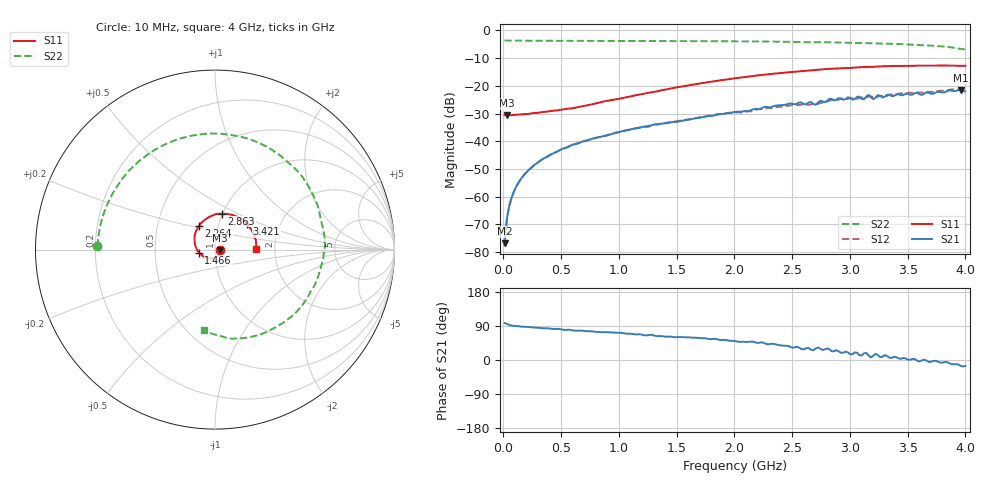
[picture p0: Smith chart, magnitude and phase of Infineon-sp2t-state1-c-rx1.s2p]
! 5/10/2016 1:42:42 PM
! C:\ANRITSUVNA\DATA\INFINEON-SP2T-STATE1-C-RX1.S2P
! CHANNEL.1
! TR.MEASUREMENT
! CORRECTED.DATA
# GHZ S RI R 50.0
! FREQ.GHZ  S11RE  S11IM  S21RE  S21IM  S12RE  S12IM  S22RE  S22IM
!; PortSelection: Port_12
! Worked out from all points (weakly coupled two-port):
!   201 points, 10 MHz to 4 GHz, reference 50 ohm
!   highest |S21| = -21.44 dB at 3.96 GHz (marker M1); lowest = -76.8 dB at 10 MHz (marker M2)
!   lowest |S11| = -30.6 dB at 29.95 MHz (marker M3), VSWR 1.06, Z = 53 - j0.261 ohm
!   |S11| at or under -10 dB: start of sweep to end of sweep
!   |S22| runs from -6.9 to -3.6 dB; largest |S21 - S12| = 0.009
!   S11 on the Smith chart (normalised r, x): 10 MHz: 1.06, -0.00; 1.466 GHz: 0.83, -0.03; 2.264 GHz: 0.81, +0.22; 2.863 GHz: 1.00, +0.42; 3.421 GHz: 1.36, +0.41; 4 GHz: 1.60, +0.01
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0.01  0.0296 -0.00189  -1.88e-05 0.000144  -1.27e-05 0.000128  -0.6587 0.0191
0.02995  0.0293 -0.00246  -3.87e-05 0.000406  -2.82e-05 0.000395  -0.6545 0.0247
0.0499  0.0293 -0.00369  -2.75e-05 0.000679  -2.04e-05 0.000673  -0.6532 0.0405
0.0898  0.0292 -0.00663  1.3e-06 0.00123  2.9e-06 0.00122  -0.6498 0.0717
0.2095  0.0272 -0.015  0.00014 0.00291  0.000146 0.0029  -0.6321 0.163
0.409  0.0209 -0.0283  0.000737 0.00575  0.00075 0.00568  -0.575 0.3039
0.6883  0.000492 -0.0431  0.00223 0.00973  0.00215 0.00962  -0.4491 0.4685
1.34665  -0.0757 -0.0294  0.00914 0.018  0.00928 0.0184  -0.0247 0.6467
1.46635  -0.0899 -0.0162  0.0109 0.0195  0.0111 0.0197  0.058 0.6429
2.005  -0.1129 0.0785  0.0218 0.0261  0.0224 0.0243  0.388 0.5027
2.26435  -0.0895 0.1321  0.0304 0.029  0.0284 0.0264  0.5061 0.3763
2.6833  -0.008 0.1929  0.0427 0.0205  0.0402 0.0247  0.6003 0.1217
2.86285  0.0397 0.2  0.0502 0.0215  0.0493 0.0243  0.6073 -0.00432
3.0823  0.0983 0.1926  0.0623 0.0141  0.0568 0.0213  0.5735 -0.1528
3.1222  0.1098 0.1887  0.0547 0.0171  0.0582 0.0182  0.562 -0.1815
3.1621  0.1193 0.1851  0.0672 0.0141  0.0613 0.0193  0.5495 -0.209
3.202  0.1275 0.1799  0.0563 0.0112  0.0608 0.014  0.5348 -0.2309
3.34165  0.1635 0.1578  0.0689 0.00741  0.0675 0.0153  0.4784 -0.32
3.42145  0.1783 0.1426  0.0706 0.00512  0.0715 0.0123  0.4355 -0.3654
3.7606  0.2233 0.0637  0.0781 -0.00586  0.0808 -0.00538  0.1793 -0.4909
3.9601  0.2291 0.0127  0.0816 -0.0227  0.0834 -0.0218  -0.0243 -0.4663
4  0.2301 0.00396  0.0763 -0.0217  0.0814 -0.0266  -0.06 -0.4474
